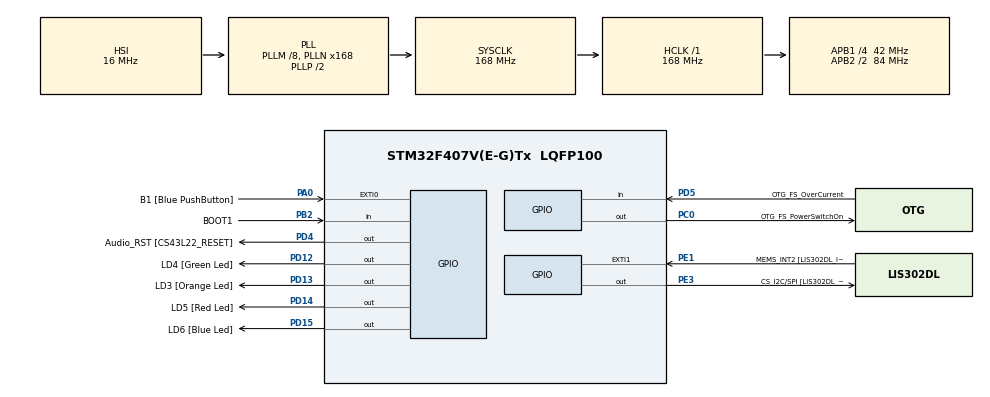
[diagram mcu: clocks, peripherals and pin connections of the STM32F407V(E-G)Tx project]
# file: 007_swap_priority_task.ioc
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Mcu.Family=STM32F4
Mcu.Name=STM32F407V(E-G)Tx
Mcu.Package=LQFP100
NVIC.EXTI0_IRQn=true\:0\:0\:false\:false\:true\:true\:true\:true
NVIC.PriorityGroup=NVIC_PRIORITYGROUP_0
NVIC.TIM6_DAC_IRQn=true\:0\:0\:false\:false\:true\:false\:true\:true
NVIC.TimeBase=TIM6_DAC_IRQn
NVIC.TimeBaseIP=TIM6
PA0-WKUP.GPIO_Label=B1 [Blue PushButton]
PA0-WKUP.GPIO_ModeDefaultEXTI=GPIO_MODE_IT_FALLING
PA0-WKUP.Signal=GPXTI0
PA10.GPIO_Label=OTG_FS_ID
PA10.GPIO_Mode=GPIO_MODE_AF_PP
PA10.GPIO_PuPd=GPIO_NOPULL
PA10.GPIO_Speed=GPIO_SPEED_FREQ_LOW
PA10.Signal=USB_OTG_FS_ID
PA11.GPIO_Label=OTG_FS_DM
PA11.GPIO_Mode=GPIO_MODE_AF_PP
PA11.GPIO_PuPd=GPIO_NOPULL
PA11.GPIO_Speed=GPIO_SPEED_FREQ_LOW
PA11.Signal=USB_OTG_FS_DM
PA12.GPIO_Label=OTG_FS_DP
PA12.GPIO_Mode=GPIO_MODE_AF_PP
PA12.GPIO_PuPd=GPIO_NOPULL
PA12.GPIO_Speed=GPIO_SPEED_FREQ_LOW
PA12.Signal=USB_OTG_FS_DP
PA13.GPIO_Label=SWDIO
PA13.Signal=SYS_JTMS-SWDIO
PA14.GPIO_Label=SWCLK
PA14.Signal=SYS_JTCK-SWCLK
PA4.GPIO_Label=I2S3_WS [CS43L22_LRCK]
PA4.GPIO_Mode=GPIO_MODE_AF_PP
PA4.GPIO_PuPd=GPIO_NOPULL
PA4.GPIO_Speed=GPIO_SPEED_FREQ_LOW
PA4.Signal=I2S3_WS
PA5.GPIO_Label=SPI1_SCK [LIS302DL_SCL/SPC]
PA5.GPIO_Mode=GPIO_MODE_AF_PP
PA5.GPIO_PuPd=GPIO_NOPULL
PA5.GPIO_Speed=GPIO_SPEED_FREQ_LOW
PA5.Signal=SPI1_SCK
PA6.GPIO_Label=SPI1_MISO [LIS302DL_SDO]
PA6.GPIO_Mode=GPIO_MODE_AF_PP
PA6.GPIO_PuPd=GPIO_NOPULL
PA6.GPIO_Speed=GPIO_SPEED_FREQ_LOW
PA6.Signal=SPI1_MISO
PA7.GPIO_Label=SPI1_MOSI [LIS302DL_SDA/SDI/SDO]
PA7.GPIO_Mode=GPIO_MODE_AF_PP
PA7.GPIO_PuPd=GPIO_NOPULL
PA7.GPIO_Speed=GPIO_SPEED_FREQ_LOW
PA7.Signal=SPI1_MOSI
PA9.GPIO_Label=VBUS_FS
PA9.GPIO_Mode=GPIO_MODE_INPUT
PA9.GPIO_PuPd=GPIO_NOPULL
PA9.Signal=USB_OTG_FS_VBUS
PB10.GPIO_Label=CLK_IN [MP45DT02_CLK]
PB10.GPIO_Mode=GPIO_MODE_AF_PP
PB10.GPIO_PuPd=GPIO_NOPULL
PB10.GPIO_Speed=GPIO_SPEED_FREQ_LOW
PB10.Signal=I2S2_CK
PB2.GPIO_Label=BOOT1
PB2.GPIO_Mode=GPIO_MODE_INPUT
PB2.GPIO_PuPd=GPIO_NOPULL
PB2.Signal=GPIO_Input
PB3.GPIO_Label=SWO
PB3.Signal=SYS_JTDO-SWO
PB6.GPIO_Label=Audio_SCL [CS43L22_SCL]
PB6.GPIO_Mode=GPIO_MODE_AF_OD
PB6.GPIO_PuPd=GPIO_NOPULL
PB6.GPIO_Speed=GPIO_SPEED_FREQ_LOW
PB6.Signal=I2C1_SCL
PB9.GPIO_Label=Audio_SDA [CS43L22_SDA]
PB9.GPIO_Mode=GPIO_MODE_AF_OD
PB9.GPIO_PuPd=GPIO_NOPULL
PB9.GPIO_Speed=GPIO_SPEED_FREQ_LOW
PB9.Signal=I2C1_SDA
PC0.GPIO_Label=OTG_FS_PowerSwitchOn
PC0.GPIO_PuPd=GPIO_NOPULL
PC0.GPIO_Speed=GPIO_SPEED_FREQ_LOW
PC0.PinState=GPIO_PIN_SET
PC0.Signal=GPIO_Output
PC10.GPIO_Label=I2S3_SCK [CS43L22_SCLK]
PC10.GPIO_Mode=GPIO_MODE_AF_PP
PC10.GPIO_PuPd=GPIO_NOPULL
PC10.GPIO_Speed=GPIO_SPEED_FREQ_LOW
PC10.Signal=I2S3_CK
PC12.GPIO_Label=I2S3_SD [CS43L22_SDIN]
PC12.GPIO_Mode=GPIO_MODE_AF_PP
PC12.GPIO_PuPd=GPIO_NOPULL
PC12.GPIO_Speed=GPIO_SPEED_FREQ_LOW
PC12.Signal=I2S3_SD
PC14-OSC32_IN.GPIO_Label=PC14-OSC32_IN
PC14-OSC32_IN.Signal=RCC_OSC32_IN
PC15-OSC32_OUT.GPIO_Label=PC15-OSC32_OUT
PC15-OSC32_OUT.Signal=RCC_OSC32_OUT
PC3.GPIO_Label=PDM_OUT [MP45DT02_DOUT]
PC3.GPIO_Mode=GPIO_MODE_AF_PP
PC3.GPIO_PuPd=GPIO_NOPULL
PC3.GPIO_Speed=GPIO_SPEED_FREQ_LOW
PC3.Signal=I2S2_SD
PC7.GPIO_Label=I2S3_MCK [CS43L22_MCLK]
PC7.GPIO_Mode=GPIO_MODE_AF_PP
PC7.GPIO_PuPd=GPIO_NOPULL
PC7.GPIO_Speed=GPIO_SPEED_FREQ_LOW
PC7.Signal=I2S3_MCK
PD12.GPIO_Label=LD4 [Green Led]
PD12.GPIO_PuPd=GPIO_NOPULL
PD12.GPIO_Speed=GPIO_SPEED_FREQ_LOW
PD12.Signal=GPIO_Output
PD13.GPIO_Label=LD3 [Orange Led]
PD13.GPIO_PuPd=GPIO_NOPULL
PD13.GPIO_Speed=GPIO_SPEED_FREQ_LOW
PD13.Signal=GPIO_Output
PD14.GPIO_Label=LD5 [Red Led]
PD14.GPIO_PuPd=GPIO_NOPULL
PD14.GPIO_Speed=GPIO_SPEED_FREQ_LOW
PD14.Signal=GPIO_Output
PD15.GPIO_Label=LD6 [Blue Led]
PD15.GPIO_PuPd=GPIO_NOPULL
PD15.GPIO_Speed=GPIO_SPEED_FREQ_LOW
PD15.Signal=GPIO_Output
PD4.GPIO_Label=Audio_RST [CS43L22_RESET]
PD4.GPIO_PuPd=GPIO_NOPULL
PD4.GPIO_Speed=GPIO_SPEED_FREQ_LOW
PD4.Signal=GPIO_Output
PD5.GPIO_Label=OTG_FS_OverCurrent
PD5.GPIO_Mode=GPIO_MODE_INPUT
PD5.GPIO_PuPd=GPIO_NOPULL
PD5.Signal=GPIO_Input
PE1.GPIO_Label=MEMS_INT2 [LIS302DL_INT2]
PE1.GPIO_ModeDefaultEXTI=GPIO_MODE_EVT_RISING
PE1.GPIO_PuPd=GPIO_NOPULL
PE1.Signal=GPXTI1
PE3.GPIO_Label=CS_I2C/SPI [LIS302DL_CS_I2C/SPI]
PE3.GPIO_PuPd=GPIO_NOPULL
PE3.GPIO_Speed=GPIO_SPEED_FREQ_LOW
PE3.Signal=GPIO_Output
PH0-OSC_IN.GPIO_Label=PH0-OSC_IN
PH0-OSC_IN.Signal=RCC_OSC_IN
PH1-OSC_OUT.GPIO_Label=PH1-OSC_OUT
PH1-OSC_OUT.Signal=RCC_OSC_OUT
ProjectManager.HeapSize=0x200
ProjectManager.StackSize=0x400
ProjectManager.TargetToolchain=STM32CubeIDE
RCC.48MHZClocksFreq_Value=48000000
RCC.AHBFreq_Value=168000000
RCC.APB1CLKDivider=RCC_HCLK_DIV4
RCC.APB1Freq_Value=42000000
RCC.APB1TimFreq_Value=84000000
RCC.APB2CLKDivider=RCC_HCLK_DIV2
RCC.APB2Freq_Value=84000000
RCC.APB2TimFreq_Value=168000000
RCC.CortexFreq_Value=168000000
RCC.HCLKFreq_Value=168000000
RCC.HSE_VALUE=8000000
RCC.HSI_VALUE=16000000
RCC.LSE_VALUE=32768
RCC.PLLM=8
RCC.PLLN=168
RCC.PLLQ=7
RCC.SYSCLKFreq_VALUE=168000000
RCC.SYSCLKSource=RCC_SYSCLKSOURCE_PLLCLK
RCC.VCOOutputFreq_Value=336000000
VP_SYS_VS_tim6.Mode=TIM6
board=STM32F407G-DISC1

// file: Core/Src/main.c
/* USER CODE BEGIN Header */
/**
  ******************************************************************************
  * @file           : main.c
  * @brief          : Main program body
  ******************************************************************************
  * @attention
  *
  * <h2><center>&copy; Copyright (c) 2021 STMicroelectronics.
  * All rights reserved.</center></h2>
  *
  * This software component is licensed by ST under BSD 3-Clause license,
  * the "License"; You may not use this file except in compliance with the
  * License. You may obtain a copy of the License at:
  *                        opensource.org/licenses/BSD-3-Clause
  *
  ******************************************************************************
  */
/* USER CODE END Header */
#include "main.h"

/* USER CODE BEGIN Includes */

#include "FreeRTOS.h"
#include "task.h"

/* USER CODE END Includes */

/* USER CODE BEGIN PV */

#define DWT_CTRL    (*(volatile uint32_t*)0xE0001000)

volatile BaseType_t status_button = 0;

/* USER CODE END PV */

void SystemClock_Config(void);
static void MX_GPIO_Init(void);
/* USER CODE BEGIN PFP */

static void task1_handler(void* parameters);
static void task2_handler(void* parameters);

extern void SEGGER_UART_init(uint32_t);

/* USER CODE END PFP */

int main(void)
{

  /* USER CODE BEGIN 1 */

	BaseType_t status;

	TaskHandle_t task1_handle;
	TaskHandle_t task2_handle;

  /* USER CODE END 1 */

  /* MCU Configuration--------------------------------------------------------*/

  /* Reset of all peripherals, Initializes the Flash interface and the Systick. */
  HAL_Init();

  /* Configure the system clock */
  SystemClock_Config();

  /* Initialize all configured peripherals */
  MX_GPIO_Init();
  /* USER CODE BEGIN 2 */

  SEGGER_UART_init(500000);

  //CYCLCNT enable
  DWT_CTRL |= ( 1 << 0);

  SEGGER_SYSVIEW_Conf();

//  SEGGER_SYSVIEW_Start();

  status = xTaskCreate(task1_handler, "Task-1", 200, NULL, 2, &task1_handle);

  configASSERT(status == pdPASS);

  status = xTaskCreate(task2_handler, "Task-2", 200,NULL, 3, &task2_handle);

  configASSERT(status == pdPASS);

  //start the freeRTOS scheduler
  vTaskStartScheduler();

  /* USER CODE END 2 */

  /* Infinite loop */
  while (1)
  {

  }
}

void SystemClock_Config(void)
{
  RCC_OscInitTypeDef RCC_OscInitStruct = {0};
  RCC_ClkInitTypeDef RCC_ClkInitStruct = {0};

  /** Configure the main internal regulator output voltage
  */
  __HAL_RCC_PWR_CLK_ENABLE();
  __HAL_PWR_VOLTAGESCALING_CONFIG(PWR_REGULATOR_VOLTAGE_SCALE1);

  /** Initializes the RCC Oscillators according to the specified parameters
  * in the RCC_OscInitTypeDef structure.
  */
  RCC_OscInitStruct.OscillatorType = RCC_OSCILLATORTYPE_HSI;
  RCC_OscInitStruct.HSIState = RCC_HSI_ON;
  RCC_OscInitStruct.HSICalibrationValue = RCC_HSICALIBRATION_DEFAULT;
  RCC_OscInitStruct.PLL.PLLState = RCC_PLL_ON;
  RCC_OscInitStruct.PLL.PLLSource = RCC_PLLSOURCE_HSI;
  RCC_OscInitStruct.PLL.PLLM = 8;
  RCC_OscInitStruct.PLL.PLLN = 168;
  RCC_OscInitStruct.PLL.PLLP = RCC_PLLP_DIV2;
  RCC_OscInitStruct.PLL.PLLQ = 7;
  if (HAL_RCC_OscConfig(&RCC_OscInitStruct) != HAL_OK)
  {
    Error_Handler();
  }

  /** Initializes the CPU, AHB and APB buses clocks
  */
  RCC_ClkInitStruct.ClockType = RCC_CLOCKTYPE_HCLK|RCC_CLOCKTYPE_SYSCLK
                              |RCC_CLOCKTYPE_PCLK1|RCC_CLOCKTYPE_PCLK2;
  RCC_ClkInitStruct.SYSCLKSource = RCC_SYSCLKSOURCE_PLLCLK;
  RCC_ClkInitStruct.AHBCLKDivider = RCC_SYSCLK_DIV1;
  RCC_ClkInitStruct.APB1CLKDivider = RCC_HCLK_DIV4;
  RCC_ClkInitStruct.APB2CLKDivider = RCC_HCLK_DIV2;

  if (HAL_RCC_ClockConfig(&RCC_ClkInitStruct, FLASH_LATENCY_5) != HAL_OK)
  {
    Error_Handler();
  }
}

static void MX_GPIO_Init(void)
{
  GPIO_InitTypeDef GPIO_InitStruct = {0};

  /* GPIO Ports Clock Enable */
  __HAL_RCC_GPIOE_CLK_ENABLE();
  __HAL_RCC_GPIOC_CLK_ENABLE();
  __HAL_RCC_GPIOH_CLK_ENABLE();
  __HAL_RCC_GPIOA_CLK_ENABLE();
  __HAL_RCC_GPIOB_CLK_ENABLE();
  __HAL_RCC_GPIOD_CLK_ENABLE();

  /*Configure GPIO pin Output Level */
  HAL_GPIO_WritePin(CS_I2C_SPI_GPIO_Port, CS_I2C_SPI_Pin, GPIO_PIN_RESET);

  /*Configure GPIO pin Output Level */
  HAL_GPIO_WritePin(OTG_FS_PowerSwitchOn_GPIO_Port, OTG_FS_PowerSwitchOn_Pin, GPIO_PIN_SET);

  /*Configure GPIO pin Output Level */
  HAL_GPIO_WritePin(GPIOD, LD4_Pin|LD3_Pin|LD5_Pin|LD6_Pin
                          |Audio_RST_Pin, GPIO_PIN_RESET);

  /*Configure GPIO pin : CS_I2C_SPI_Pin */
  GPIO_InitStruct.Pin = CS_I2C_SPI_Pin;
  GPIO_InitStruct.Mode = GPIO_MODE_OUTPUT_PP;
  GPIO_InitStruct.Pull = GPIO_NOPULL;
  GPIO_InitStruct.Speed = GPIO_SPEED_FREQ_LOW;
  HAL_GPIO_Init(CS_I2C_SPI_GPIO_Port, &GPIO_InitStruct);

  /*Configure GPIO pin : OTG_FS_PowerSwitchOn_Pin */
  GPIO_InitStruct.Pin = OTG_FS_PowerSwitchOn_Pin;
  GPIO_InitStruct.Mode = GPIO_MODE_OUTPUT_PP;
  GPIO_InitStruct.Pull = GPIO_NOPULL;
  GPIO_InitStruct.Speed = GPIO_SPEED_FREQ_LOW;
  HAL_GPIO_Init(OTG_FS_PowerSwitchOn_GPIO_Port, &GPIO_InitStruct);

  /*Configure GPIO pin : PDM_OUT_Pin */
  GPIO_InitStruct.Pin = PDM_OUT_Pin;
  GPIO_InitStruct.Mode = GPIO_MODE_AF_PP;
  GPIO_InitStruct.Pull = GPIO_NOPULL;
  GPIO_InitStruct.Speed = GPIO_SPEED_FREQ_LOW;
  GPIO_InitStruct.Alternate = GPIO_AF5_SPI2;
  HAL_GPIO_Init(PDM_OUT_GPIO_Port, &GPIO_InitStruct);

  /*Configure GPIO pin : B1_Pin */
  GPIO_InitStruct.Pin = B1_Pin;
  GPIO_InitStruct.Mode = GPIO_MODE_IT_FALLING;
  GPIO_InitStruct.Pull = GPIO_NOPULL;
  HAL_GPIO_Init(B1_GPIO_Port, &GPIO_InitStruct);

  /*Configure GPIO pin : I2S3_WS_Pin */
  GPIO_InitStruct.Pin = I2S3_WS_Pin;
  GPIO_InitStruct.Mode = GPIO_MODE_AF_PP;
  GPIO_InitStruct.Pull = GPIO_NOPULL;
  GPIO_InitStruct.Speed = GPIO_SPEED_FREQ_LOW;
  GPIO_InitStruct.Alternate = GPIO_AF6_SPI3;
  HAL_GPIO_Init(I2S3_WS_GPIO_Port, &GPIO_InitStruct);

  /*Configure GPIO pins : SPI1_SCK_Pin SPI1_MISO_Pin SPI1_MOSI_Pin */
  GPIO_InitStruct.Pin = SPI1_SCK_Pin|SPI1_MISO_Pin|SPI1_MOSI_Pin;
  GPIO_InitStruct.Mode = GPIO_MODE_AF_PP;
  GPIO_InitStruct.Pull = GPIO_NOPULL;
  GPIO_InitStruct.Speed = GPIO_SPEED_FREQ_LOW;
  GPIO_InitStruct.Alternate = GPIO_AF5_SPI1;
  HAL_GPIO_Init(GPIOA, &GPIO_InitStruct);

  /*Configure GPIO pin : BOOT1_Pin */
  GPIO_InitStruct.Pin = BOOT1_Pin;
  GPIO_InitStruct.Mode = GPIO_MODE_INPUT;
  GPIO_InitStruct.Pull = GPIO_NOPULL;
  HAL_GPIO_Init(BOOT1_GPIO_Port, &GPIO_InitStruct);

  /*Configure GPIO pin : CLK_IN_Pin */
  GPIO_InitStruct.Pin = CLK_IN_Pin;
  GPIO_InitStruct.Mode = GPIO_MODE_AF_PP;
  GPIO_InitStruct.Pull = GPIO_NOPULL;
  GPIO_InitStruct.Speed = GPIO_SPEED_FREQ_LOW;
  GPIO_InitStruct.Alternate = GPIO_AF5_SPI2;
  HAL_GPIO_Init(CLK_IN_GPIO_Port, &GPIO_InitStruct);

  /*Configure GPIO pins : LD4_Pin LD3_Pin LD5_Pin LD6_Pin
                           Audio_RST_Pin */
  GPIO_InitStruct.Pin = LD4_Pin|LD3_Pin|LD5_Pin|LD6_Pin
                          |Audio_RST_Pin;
  GPIO_InitStruct.Mode = GPIO_MODE_OUTPUT_PP;
  GPIO_InitStruct.Pull = GPIO_NOPULL;
  GPIO_InitStruct.Speed = GPIO_SPEED_FREQ_LOW;
  HAL_GPIO_Init(GPIOD, &GPIO_InitStruct);

  /*Configure GPIO pins : I2S3_MCK_Pin I2S3_SCK_Pin I2S3_SD_Pin */
  GPIO_InitStruct.Pin = I2S3_MCK_Pin|I2S3_SCK_Pin|I2S3_SD_Pin;
  GPIO_InitStruct.Mode = GPIO_MODE_AF_PP;
  GPIO_InitStruct.Pull = GPIO_NOPULL;
  GPIO_InitStruct.Speed = GPIO_SPEED_FREQ_LOW;
  GPIO_InitStruct.Alternate = GPIO_AF6_SPI3;
  HAL_GPIO_Init(GPIOC, &GPIO_InitStruct);

  /*Configure GPIO pin : VBUS_FS_Pin */
  GPIO_InitStruct.Pin = VBUS_FS_Pin;
  GPIO_InitStruct.Mode = GPIO_MODE_INPUT;
  GPIO_InitStruct.Pull = GPIO_NOPULL;
  HAL_GPIO_Init(VBUS_FS_GPIO_Port, &GPIO_InitStruct);

  /*Configure GPIO pins : OTG_FS_ID_Pin OTG_FS_DM_Pin OTG_FS_DP_Pin */
  GPIO_InitStruct.Pin = OTG_FS_ID_Pin|OTG_FS_DM_Pin|OTG_FS_DP_Pin;
  GPIO_InitStruct.Mode = GPIO_MODE_AF_PP;
  GPIO_InitStruct.Pull = GPIO_NOPULL;
  GPIO_InitStruct.Speed = GPIO_SPEED_FREQ_LOW;
  GPIO_InitStruct.Alternate = GPIO_AF10_OTG_FS;
  HAL_GPIO_Init(GPIOA, &GPIO_InitStruct);

  /*Configure GPIO pin : OTG_FS_OverCurrent_Pin */
  GPIO_InitStruct.Pin = OTG_FS_OverCurrent_Pin;
  GPIO_InitStruct.Mode = GPIO_MODE_INPUT;
  GPIO_InitStruct.Pull = GPIO_NOPULL;
  HAL_GPIO_Init(OTG_FS_OverCurrent_GPIO_Port, &GPIO_InitStruct);

  /*Configure GPIO pins : Audio_SCL_Pin Audio_SDA_Pin */
  GPIO_InitStruct.Pin = Audio_SCL_Pin|Audio_SDA_Pin;
  GPIO_InitStruct.Mode = GPIO_MODE_AF_OD;
  GPIO_InitStruct.Pull = GPIO_NOPULL;
  GPIO_InitStruct.Speed = GPIO_SPEED_FREQ_LOW;
  GPIO_InitStruct.Alternate = GPIO_AF4_I2C1;
  HAL_GPIO_Init(GPIOB, &GPIO_InitStruct);

  /*Configure GPIO pin : MEMS_INT2_Pin */
  GPIO_InitStruct.Pin = MEMS_INT2_Pin;
  GPIO_InitStruct.Mode = GPIO_MODE_EVT_RISING;
  GPIO_InitStruct.Pull = GPIO_NOPULL;
  HAL_GPIO_Init(MEMS_INT2_GPIO_Port, &GPIO_InitStruct);

  /* EXTI interrupt init*/
  HAL_NVIC_SetPriority(EXTI0_IRQn, 0, 0);
  HAL_NVIC_EnableIRQ(EXTI0_IRQn);

}

/* USER CODE BEGIN 4 */

void switch_priority(void)
{
	UBaseType_t p1,p2;
	xTaskHandle t1,t2,curr;

	BaseType_t switch_priority = 0;

	portENTER_CRITICAL();
	if(status_button){
		status_button = 0;
		switch_priority = 1;
	}
	portEXIT_CRITICAL();

	if(switch_priority){
		t1 = xTaskGetHandle("Task-1");
		t2 = xTaskGetHandle("Task-2");

		p1 = uxTaskPriorityGet(t1);
		p2 = uxTaskPriorityGet(t2);

		curr = xTaskGetCurrentTaskHandle();

		if(curr == t1){
			HAL_GPIO_WritePin(GPIOD, GPIO_PIN_13,GPIO_PIN_RESET);
			vTaskPrioritySet(t1,p2);
			vTaskPrioritySet(t2,p1);
		}else{
			HAL_GPIO_WritePin(GPIOD, GPIO_PIN_15,GPIO_PIN_RESET);
			vTaskPrioritySet(t2,p1);
			vTaskPrioritySet(t1,p2);
		}
	}

}

static void task1_handler(void* parameters)
{

	while(1)
	{

		HAL_GPIO_TogglePin(GPIOD, GPIO_PIN_13);
		HAL_Delay(100);
		switch_priority();
	}

}

static void task2_handler(void* parameters)
{

	while(1)
	{
		HAL_GPIO_TogglePin(GPIOD, GPIO_PIN_15);
		HAL_Delay(1000);
		switch_priority();
	}

}

void button_interrupt_handler(void)
{
	traceISR_ENTER();
	status_button = 1;
	traceISR_EXIT();
}

/* USER CODE END 4 */

void HAL_TIM_PeriodElapsedCallback(TIM_HandleTypeDef *htim)
{
  if (htim->Instance == TIM6)
  {
    HAL_IncTick();
  }
}

void Error_Handler(void)
{
}
